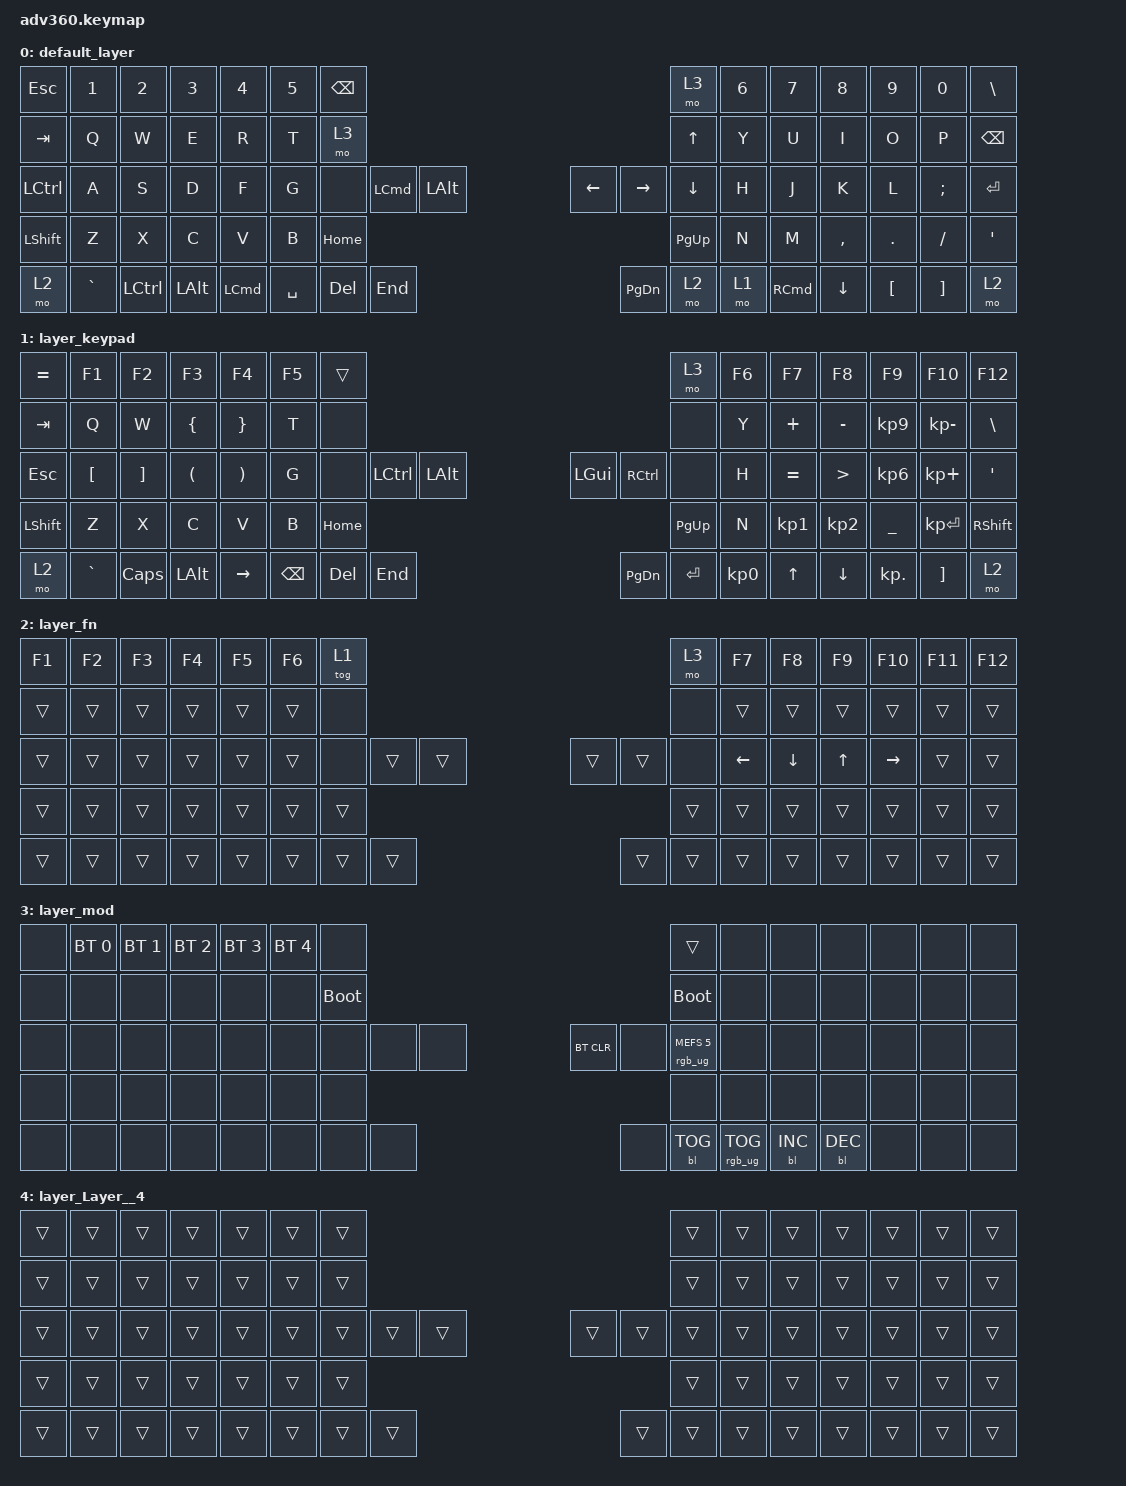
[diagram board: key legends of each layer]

/*
 * Copyright (c) 2020 The ZMK Contributors
 *
 * SPDX-License-Identifier: MIT
 */


/* THIS FILE WAS GENERATED!
 *
 * This file was generated automatically. You may or may not want to
 * edit it directly.
 */

#include <behaviors.dtsi>
#include <dt-bindings/zmk/keys.h>
#include <dt-bindings/zmk/bt.h>
#include <dt-bindings/zmk/rgb.h>
#include <dt-bindings/zmk/backlight.h>

/ {
  behaviors {
    #include "macros.dtsi"
    #include "version.dtsi"

    hm: homerow_mods {
        compatible = "zmk,behavior-hold-tap";
        label = "HOMEROW_MODS";
        #binding-cells = <2>;
        tapping-term-ms = <200>;
        quick_tap_ms = <175>;
        flavor = "tap-preferred";
        bindings = <&kp>, <&kp>;
    };
  };

    keymap {
        compatible = "zmk,keymap";


        default_layer {
            bindings = <
          &kp ESC     &kp N1            &kp N2    &kp N3            &kp N4  &kp N5            &kp BACKSPACE                                                                       &mo 3  &kp N6             &kp N7     &kp N8    &kp N9    &kp N0   &kp BSLH
          &kp TAB      &kp Q             &kp W     &kp E             &kp R   &kp T                    &mo 3                                                                      &kp UP   &kp Y              &kp U      &kp I     &kp O     &kp P   &kp BSPC
 &kp LEFT_CONTROL      &kp A             &kp S     &kp D             &kp F   &kp G                    &none  &kp LEFT_COMMAND  &kp LALT                   &kp LEFT  &kp RIGHT  &kp DOWN   &kp H              &kp J      &kp K     &kp L  &kp SEMI  &kp ENTER
        &kp LSHFT      &kp Z             &kp X     &kp C             &kp V   &kp B                                             &kp HOME                  &kp PG_UP                        &kp N              &kp M  &kp COMMA   &kp DOT  &kp FSLH    &kp SQT
            &mo 2  &kp GRAVE  &kp LEFT_CONTROL  &kp LALT  &kp LEFT_COMMAND                        &kp SPACE           &kp DEL   &kp END                  &kp PG_DN      &mo 2     &mo 1          &kp RIGHT_COMMAND   &kp DOWN  &kp LBKT  &kp RBKT      &mo 2
            >;
        };

        layer_keypad {
            bindings = <
 &kp EQUAL            &kp F1             &kp F2                &kp F3                 &kp F4  &kp F5              &trans                                                                 &mo 3  &kp F6     &kp F7            &kp F8          &kp F9       &kp F10    &kp F12
   &kp TAB             &kp Q              &kp W        &kp LEFT_BRACE        &kp RIGHT_BRACE   &kp T               &none                                                                 &none   &kp Y   &kp PLUS         &kp MINUS       &kp KP_N9  &kp KP_MINUS   &kp BSLH
   &kp ESC  &kp LEFT_BRACKET  &kp RIGHT_BRACKET  &kp LEFT_PARENTHESIS  &kp RIGHT_PARENTHESIS   &kp G               &none  &kp LCTRL  &kp LALT                   &kp LGUI  &kp RCTRL      &none   &kp H  &kp EQUAL  &kp GREATER_THAN       &kp KP_N6   &kp KP_PLUS    &kp SQT
 &kp LSHFT             &kp Z              &kp X                 &kp C                  &kp V   &kp B                                 &kp HOME                  &kp PG_UP                         &kp N  &kp KP_N1         &kp KP_N2  &kp UNDERSCORE  &kp KP_ENTER  &kp RSHFT
     &mo 2         &kp GRAVE           &kp CAPS          &kp LEFT_ALT              &kp RIGHT                    &kp BSPC    &kp DEL   &kp END                  &kp PG_DN  &kp ENTER  &kp KP_N0             &kp UP          &kp DOWN      &kp KP_DOT      &kp RBKT      &mo 2
            >;
        };

        layer_fn {
            bindings = <
 &kp F1  &kp F2  &kp F3  &kp F4  &kp F5  &kp F6            &tog 1                                                   &mo 3    &kp F7    &kp F8  &kp F9    &kp F10  &kp F11  &kp F12
 &trans  &trans  &trans  &trans  &trans  &trans             &none                                                   &none    &trans    &trans  &trans     &trans   &trans   &trans
 &trans  &trans  &trans  &trans  &trans  &trans             &none  &trans  &trans                  &trans  &trans   &none  &kp LEFT  &kp DOWN  &kp UP  &kp RIGHT   &trans   &trans
 &trans  &trans  &trans  &trans  &trans  &trans                            &trans                  &trans                    &trans    &trans  &trans     &trans   &trans   &trans
 &trans  &trans  &trans  &trans  &trans                    &trans  &trans  &trans                  &trans  &trans  &trans              &trans  &trans     &trans   &trans   &trans
            >;
        };

        layer_mod {
            bindings = <
  &none  &bt BT_SEL 0  &bt BT_SEL 1  &bt BT_SEL 2  &bt BT_SEL 3  &bt BT_SEL 4                  &none                                                                          &trans   &none       &none       &none   &none   &none   &none
  &none         &none         &none         &none         &none         &none            &bootloader                                                                     &bootloader   &none       &none       &none   &none   &none   &none
  &none         &none         &none         &none         &none         &none                  &none   &none   &none                  &bt BT_CLR       &none  &rgb_ug RGB_MEFS_CMD 5   &none       &none       &none   &none   &none   &none
  &none         &none         &none         &none         &none         &none                                  &none                       &none                                       &none       &none       &none   &none   &none   &none
  &none         &none         &none         &none         &none                                &none   &none   &none                       &none  &bl BL_TOG         &rgb_ug RGB_TOG          &bl BL_INC  &bl BL_DEC   &none   &none   &none
            >;
        };

        layer_Layer__4 {
            bindings = <
 &trans  &trans  &trans  &trans  &trans  &trans            &trans                                                  &trans  &trans  &trans  &trans  &trans  &trans  &trans
 &trans  &trans  &trans  &trans  &trans  &trans            &trans                                                  &trans  &trans  &trans  &trans  &trans  &trans  &trans
 &trans  &trans  &trans  &trans  &trans  &trans            &trans  &trans  &trans                  &trans  &trans  &trans  &trans  &trans  &trans  &trans  &trans  &trans
 &trans  &trans  &trans  &trans  &trans  &trans                            &trans                  &trans                  &trans  &trans  &trans  &trans  &trans  &trans
 &trans  &trans  &trans  &trans  &trans                    &trans  &trans  &trans                  &trans  &trans  &trans          &trans  &trans  &trans  &trans  &trans
            >;
        };

    };
};
